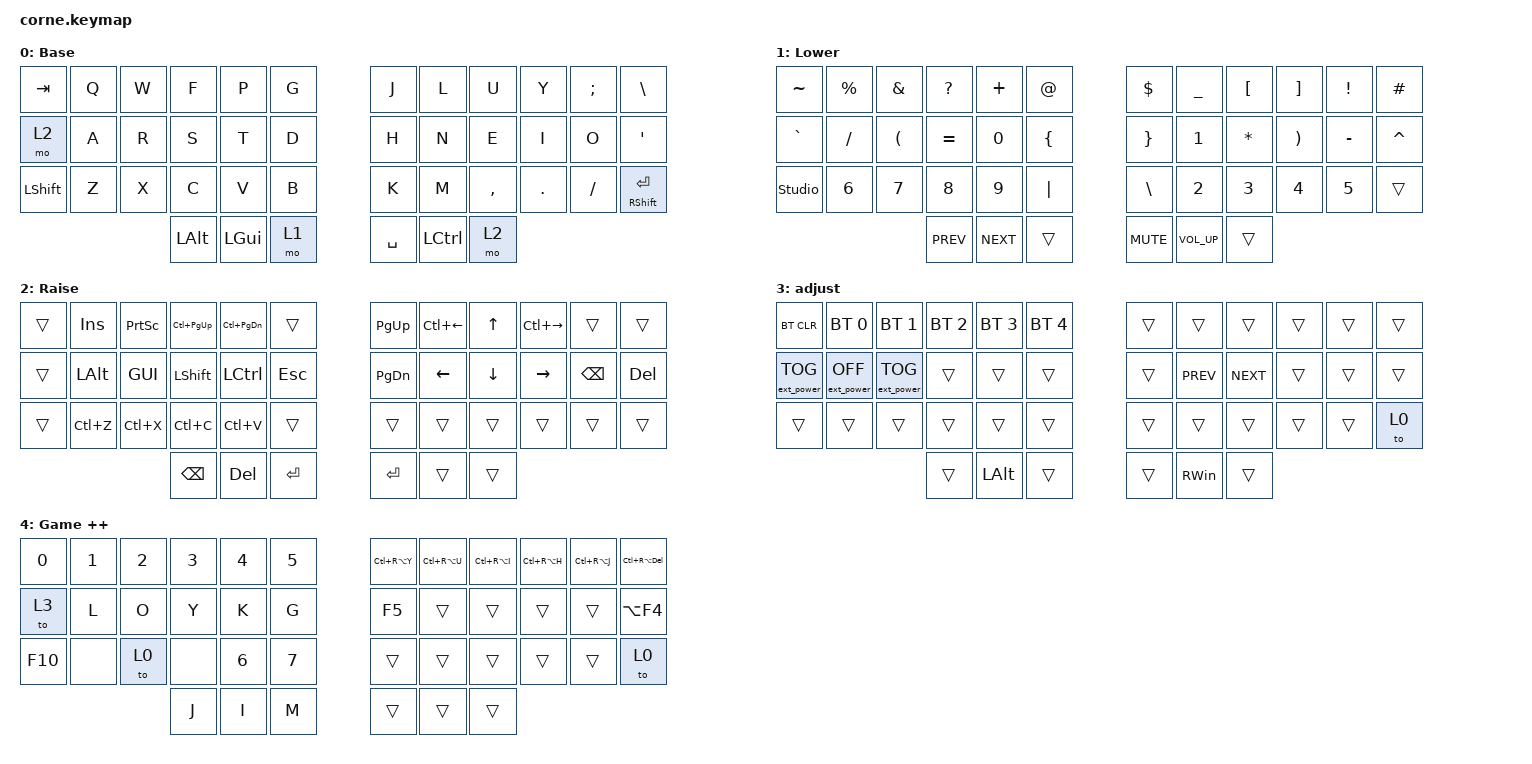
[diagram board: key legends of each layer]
/*
 * Copyright (c) 2020 The ZMK Contributors
 *
 * SPDX-License-Identifier: MIT
 */

#include <behaviors.dtsi>
#include <dt-bindings/zmk/bt.h>
#include <dt-bindings/zmk/ext_power.h>
#include <dt-bindings/zmk/keys.h>

#define BASE 0
#define LOWER 1
#define RAISE 2
#define ADJUST 3

/ {
    conditional_layers {
        compatible = "zmk,conditional-layers";

        adjust_layer {
            if-layers = <LOWER RAISE>;
            then-layer = <ADJUST>;
        };
    };

    keymap {
        compatible = "zmk,keymap";

        Base {
            // -----------------------------------------------------------------------------------------
            // |  TAB |  Q  |  W  |  E  |  R  |  T  |   |  Y  |  U   |  I  |  O  |  P  | BKSP |
            // | CTRL |  A  |  S  |  D  |  F  |  G  |   |  H  |  J   |  K  |  L  |  ;  |  '   |
            // | SHFT |  Z  |  X  |  C  |  V  |  B  |   |  N  |  M   |  ,  |  .  |  /  | ESC  |
            //                    | GUI | LWR | SPC |   | ENT | RSE  | ALT |

            label = "Base";
            bindings = <
&kp TAB     &kp Q  &kp W  &kp F     &kp P     &kp G    &kp J      &kp L      &kp U      &kp Y    &kp SEMI  &kp BSLH
&mo 2       &kp A  &kp R  &kp S     &kp T     &kp D    &kp H      &kp N      &kp E      &kp I    &kp O     &kp SQT
&kp LSHIFT  &kp Z  &kp X  &kp C     &kp V     &kp B    &kp K      &kp M      &kp COMMA  &kp DOT  &kp FSLH  &mt RSHFT RET
                          &kp LALT  &kp LGUI  &mo 1    &kp SPACE  &kp LCTRL  &mo 2
            >;
        };

        Lower {
            // -----------------------------------------------------------------------------------------
            // |  TAB |  1  |  2  |  3  |  4  |  5  |   |  6  |  7  |  8  |  9  |  0  | BKSP |
            // | BTCLR| BT1 | BT2 | BT3 | BT4 | BT5 |   | LFT | DWN |  UP | RGT |     |      |
            // | SHFT |     |     |     |     |     |   |     |     |     |     |     |      |
            //                    | GUI |     | SPC |   | ENT |     | ALT |

            label = "Lower";
            bindings = <
&kp TILDE  &kp PRCNT  &kp AMPS  &kp QMARK   &kp PLUS    &kp AT      &kp DLLR       &kp UNDER        &kp LBKT      &kp RBKT  &kp EXCL   &kp HASH
&kp GRAVE  &kp FSLH   &kp LPAR  &kp EQUAL   &kp N0      &kp LBRC    &kp RBRC       &kp N1           &kp STAR      &kp RPAR  &kp MINUS  &kp CARET
&studio_unlock    &kp N6     &kp N7    &kp N8      &kp N9      &kp PIPE    &kp BACKSLASH  &kp N2           &kp N3        &kp N4    &kp N5     &trans
                                &kp C_PREV  &kp C_NEXT  &trans      &kp C_MUTE     &kp C_VOLUME_UP  &trans
            >;
        };

        Raise {
            // -----------------------------------------------------------------------------------------
            // |  TAB |  !  |  @  |  #  |  $  |  %  |   |  ^  |  &  |  *  |  (  |  )  | BKSP |
            // | CTRL |     |     |     |     |     |   |  -  |  =  |  [  |  ]  |  \  |  `   |
            // | SHFT |     |     |     |     |     |   |  _  |  +  |  {  |  }  | "|" |  ~   |
            //                    | GUI |     | SPC |   | ENT |     | ALT |

            label = "Raise";
            bindings = <
&trans  &kp INS    &kp PSCRN  &kp LC(PG_UP)  &kp LC(PG_DN)  &trans        &kp PG_UP  &kp LC(LEFT_ARROW)  &kp UP    &kp LC(RIGHT_ARROW)  &trans    &trans
&trans  &kp LALT   &kp GUI    &kp LSHFT      &kp LCTRL      &kp ESC       &kp PG_DN  &kp LEFT            &kp DOWN  &kp RIGHT            &kp BSPC  &kp DEL
&trans  &kp LC(Z)  &kp LC(X)  &kp LC(C)      &kp LC(V)      &trans        &trans     &trans              &trans    &trans               &trans    &trans
                              &kp BACKSPACE  &kp DELETE     &kp RETURN    &kp RET    &trans              &trans
            >;
        };

        adjust {
            label = "adjust";
            bindings = <
&bt BT_CLR         &bt BT_SEL 0       &bt BT_SEL 1       &bt BT_SEL 2  &bt BT_SEL 3  &bt BT_SEL 4    &trans  &trans         &trans      &trans  &trans  &trans
&ext_power EP_TOG  &ext_power EP_OFF  &ext_power EP_TOG  &trans        &trans        &trans          &trans  &kp K_PREV     &kp K_NEXT  &trans  &trans  &trans
&trans             &trans             &trans             &trans        &trans        &trans          &trans  &trans         &trans      &trans  &trans  &to 0
                                                         &trans        &kp LEFT_ALT  &trans          &trans  &kp RIGHT_WIN  &trans
            >;
        };

        Game_++ {
            label = "Game ++";
            bindings = <
&kp N0   &kp NUMBER_1  &kp NUMBER_2  &kp NUMBER_3  &kp NUMBER_4  &kp NUMBER_5    &kp LC(RA(Y))  &kp LC(RA(U))  &kp LC(RA(I))  &kp LC(RA(H))  &kp LC(RA(J))  &kp LC(RA(DEL))
&to 3    &kp L         &kp O         &kp Y         &kp K         &kp G           &kp F5         &trans         &trans         &trans         &trans         &kp LA(F4)
&kp F10  &none         &to 0         &none         &kp NUMBER_6  &kp NUMBER_7    &trans         &trans         &trans         &trans         &trans         &to 0
                                     &kp J         &kp I         &kp M           &trans         &trans         &trans
            >;
        };
    };
};
